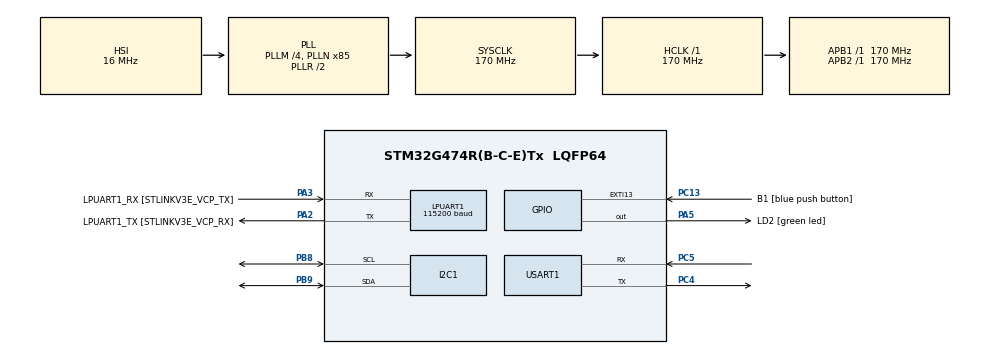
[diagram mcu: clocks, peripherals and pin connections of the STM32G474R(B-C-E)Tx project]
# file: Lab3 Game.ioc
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Dma.I2C1_RX.4.Direction=DMA_PERIPH_TO_MEMORY
Dma.I2C1_RX.4.EventEnable=DISABLE
Dma.I2C1_RX.4.Instance=DMA1_Channel5
Dma.I2C1_RX.4.MemDataAlignment=DMA_MDATAALIGN_BYTE
Dma.I2C1_RX.4.MemInc=DMA_MINC_ENABLE
Dma.I2C1_RX.4.Mode=DMA_NORMAL
Dma.I2C1_RX.4.PeriphDataAlignment=DMA_PDATAALIGN_BYTE
Dma.I2C1_RX.4.PeriphInc=DMA_PINC_DISABLE
Dma.I2C1_RX.4.Polarity=HAL_DMAMUX_REQ_GEN_RISING
Dma.I2C1_RX.4.Priority=DMA_PRIORITY_LOW
Dma.I2C1_RX.4.RequestNumber=1
Dma.I2C1_RX.4.SignalID=NONE
Dma.I2C1_RX.4.SyncEnable=DISABLE
Dma.I2C1_RX.4.SyncPolarity=HAL_DMAMUX_SYNC_NO_EVENT
Dma.I2C1_RX.4.SyncRequestNumber=1
Dma.I2C1_RX.4.SyncSignalID=NONE
Dma.I2C1_TX.5.Direction=DMA_MEMORY_TO_PERIPH
Dma.I2C1_TX.5.EventEnable=DISABLE
Dma.I2C1_TX.5.Instance=DMA1_Channel6
Dma.I2C1_TX.5.MemDataAlignment=DMA_MDATAALIGN_BYTE
Dma.I2C1_TX.5.MemInc=DMA_MINC_ENABLE
Dma.I2C1_TX.5.Mode=DMA_NORMAL
Dma.I2C1_TX.5.PeriphDataAlignment=DMA_PDATAALIGN_BYTE
Dma.I2C1_TX.5.PeriphInc=DMA_PINC_DISABLE
Dma.I2C1_TX.5.Polarity=HAL_DMAMUX_REQ_GEN_RISING
Dma.I2C1_TX.5.Priority=DMA_PRIORITY_LOW
Dma.I2C1_TX.5.RequestNumber=1
Dma.I2C1_TX.5.SignalID=NONE
Dma.I2C1_TX.5.SyncEnable=DISABLE
Dma.I2C1_TX.5.SyncPolarity=HAL_DMAMUX_SYNC_NO_EVENT
Dma.I2C1_TX.5.SyncRequestNumber=1
Dma.I2C1_TX.5.SyncSignalID=NONE
Dma.LPUART1_RX.1.Direction=DMA_PERIPH_TO_MEMORY
Dma.LPUART1_RX.1.EventEnable=DISABLE
Dma.LPUART1_RX.1.Instance=DMA1_Channel2
Dma.LPUART1_RX.1.MemDataAlignment=DMA_MDATAALIGN_BYTE
Dma.LPUART1_RX.1.MemInc=DMA_MINC_ENABLE
Dma.LPUART1_RX.1.Mode=DMA_CIRCULAR
Dma.LPUART1_RX.1.PeriphDataAlignment=DMA_PDATAALIGN_BYTE
Dma.LPUART1_RX.1.PeriphInc=DMA_PINC_DISABLE
Dma.LPUART1_RX.1.Polarity=HAL_DMAMUX_REQ_GEN_RISING
Dma.LPUART1_RX.1.Priority=DMA_PRIORITY_LOW
Dma.LPUART1_RX.1.RequestNumber=1
Dma.LPUART1_RX.1.SignalID=NONE
Dma.LPUART1_RX.1.SyncEnable=DISABLE
Dma.LPUART1_RX.1.SyncPolarity=HAL_DMAMUX_SYNC_NO_EVENT
Dma.LPUART1_RX.1.SyncRequestNumber=1
Dma.LPUART1_RX.1.SyncSignalID=NONE
Dma.LPUART1_TX.0.Direction=DMA_MEMORY_TO_PERIPH
Dma.LPUART1_TX.0.EventEnable=DISABLE
Dma.LPUART1_TX.0.Instance=DMA1_Channel1
Dma.LPUART1_TX.0.MemDataAlignment=DMA_MDATAALIGN_BYTE
Dma.LPUART1_TX.0.MemInc=DMA_MINC_ENABLE
Dma.LPUART1_TX.0.Mode=DMA_NORMAL
Dma.LPUART1_TX.0.PeriphDataAlignment=DMA_PDATAALIGN_BYTE
Dma.LPUART1_TX.0.PeriphInc=DMA_PINC_DISABLE
Dma.LPUART1_TX.0.Polarity=HAL_DMAMUX_REQ_GEN_RISING
Dma.LPUART1_TX.0.Priority=DMA_PRIORITY_LOW
Dma.LPUART1_TX.0.RequestNumber=1
Dma.LPUART1_TX.0.SignalID=NONE
Dma.LPUART1_TX.0.SyncEnable=DISABLE
Dma.LPUART1_TX.0.SyncPolarity=HAL_DMAMUX_SYNC_NO_EVENT
Dma.LPUART1_TX.0.SyncRequestNumber=1
Dma.LPUART1_TX.0.SyncSignalID=NONE
Dma.Request0=LPUART1_TX
Dma.Request1=LPUART1_RX
Dma.Request2=USART1_RX
Dma.Request3=USART1_TX
Dma.Request4=I2C1_RX
Dma.Request5=I2C1_TX
Dma.USART1_RX.2.Direction=DMA_PERIPH_TO_MEMORY
Dma.USART1_RX.2.EventEnable=DISABLE
Dma.USART1_RX.2.Instance=DMA1_Channel3
Dma.USART1_RX.2.MemDataAlignment=DMA_MDATAALIGN_BYTE
Dma.USART1_RX.2.MemInc=DMA_MINC_ENABLE
Dma.USART1_RX.2.Mode=DMA_CIRCULAR
Dma.USART1_RX.2.PeriphDataAlignment=DMA_PDATAALIGN_BYTE
Dma.USART1_RX.2.PeriphInc=DMA_PINC_DISABLE
Dma.USART1_RX.2.Polarity=HAL_DMAMUX_REQ_GEN_RISING
Dma.USART1_RX.2.Priority=DMA_PRIORITY_LOW
Dma.USART1_RX.2.RequestNumber=1
Dma.USART1_RX.2.SignalID=NONE
Dma.USART1_RX.2.SyncEnable=DISABLE
Dma.USART1_RX.2.SyncPolarity=HAL_DMAMUX_SYNC_NO_EVENT
Dma.USART1_RX.2.SyncRequestNumber=1
Dma.USART1_RX.2.SyncSignalID=NONE
Dma.USART1_TX.3.Direction=DMA_MEMORY_TO_PERIPH
Dma.USART1_TX.3.EventEnable=DISABLE
Dma.USART1_TX.3.Instance=DMA1_Channel4
Dma.USART1_TX.3.MemDataAlignment=DMA_MDATAALIGN_BYTE
Dma.USART1_TX.3.MemInc=DMA_MINC_ENABLE
Dma.USART1_TX.3.Mode=DMA_NORMAL
Dma.USART1_TX.3.PeriphDataAlignment=DMA_PDATAALIGN_BYTE
Dma.USART1_TX.3.PeriphInc=DMA_PINC_DISABLE
Dma.USART1_TX.3.Polarity=HAL_DMAMUX_REQ_GEN_RISING
Dma.USART1_TX.3.Priority=DMA_PRIORITY_LOW
Dma.USART1_TX.3.RequestNumber=1
Dma.USART1_TX.3.SignalID=NONE
Dma.USART1_TX.3.SyncEnable=DISABLE
Dma.USART1_TX.3.SyncPolarity=HAL_DMAMUX_SYNC_NO_EVENT
Dma.USART1_TX.3.SyncRequestNumber=1
Dma.USART1_TX.3.SyncSignalID=NONE
I2C1.Timing=0x30A0A7FB
LPUART1.BaudRate=115200
LPUART1.Parity=UART_PARITY_EVEN
LPUART1.WordLength=UART_WORDLENGTH_9B
Mcu.Family=STM32G4
Mcu.Name=STM32G474R(B-C-E)Tx
Mcu.Package=LQFP64
NVIC.DMA1_Channel1_IRQn=true\:0\:0\:false\:false\:true\:false\:true\:true
NVIC.DMA1_Channel2_IRQn=true\:0\:0\:false\:false\:true\:false\:true\:true
NVIC.DMA1_Channel3_IRQn=true\:0\:0\:false\:false\:true\:false\:true\:true
NVIC.DMA1_Channel4_IRQn=true\:0\:0\:false\:false\:true\:false\:true\:true
NVIC.DMA1_Channel5_IRQn=true\:0\:0\:false\:false\:true\:false\:true\:true
NVIC.DMA1_Channel6_IRQn=true\:0\:0\:false\:false\:true\:false\:true\:true
NVIC.EXTI15_10_IRQn=true\:0\:0\:false\:false\:true\:true\:true\:true
NVIC.I2C1_ER_IRQn=true\:0\:0\:false\:false\:true\:true\:true\:true
NVIC.I2C1_EV_IRQn=true\:0\:0\:false\:false\:true\:true\:true\:true
NVIC.LPUART1_IRQn=true\:0\:0\:false\:false\:true\:true\:true\:true
NVIC.PriorityGroup=NVIC_PRIORITYGROUP_4
NVIC.USART1_IRQn=true\:0\:0\:false\:false\:true\:true\:true\:true
PA13.GPIO_Label=T_SWDIO
PA13.Signal=SYS_JTMS-SWDIO
PA2.GPIO_Label=LPUART1_TX [STLINKV3E_VCP_RX]
PA2.Mode=Asynchronous
PA2.Signal=LPUART1_TX
PA3.GPIO_Label=LPUART1_RX [STLINKV3E_VCP_TX]
PA3.Mode=Asynchronous
PA3.Signal=LPUART1_RX
PA5.GPIO_Label=LD2 [green led]
PA5.Signal=GPIO_Output
PB3.GPIO_Label=T_SWO
PB3.Signal=SYS_JTDO-SWO
PB8-BOOT0.Mode=I2C
PB8-BOOT0.Signal=I2C1_SCL
PB9.Mode=I2C
PB9.Signal=I2C1_SDA
PC13.GPIO_Label=B1 [blue push button]
PC13.Signal=GPXTI13
PC14-OSC32_IN.Mode=LSE-External-Oscillator
PC14-OSC32_IN.Signal=RCC_OSC32_IN
PC15-OSC32_OUT.Mode=LSE-External-Oscillator
PC15-OSC32_OUT.Signal=RCC_OSC32_OUT
PC4.Mode=Asynchronous
PC4.Signal=USART1_TX
PC5.Mode=Asynchronous
PC5.Signal=USART1_RX
PF0-OSC_IN.Mode=HSE-External-Oscillator
PF0-OSC_IN.Signal=RCC_OSC_IN
PF1-OSC_OUT.Mode=HSE-External-Oscillator
PF1-OSC_OUT.Signal=RCC_OSC_OUT
ProjectManager.HeapSize=0x200
ProjectManager.StackSize=0x400
ProjectManager.TargetToolchain=STM32CubeIDE
RCC.ADC12Freq_Value=170000000
RCC.ADC345Freq_Value=170000000
RCC.AHBFreq_Value=170000000
RCC.APB1Freq_Value=170000000
RCC.APB1TimFreq_Value=170000000
RCC.APB2Freq_Value=170000000
RCC.APB2TimFreq_Value=170000000
RCC.CortexFreq_Value=170000000
RCC.EXTERNAL_CLOCK_VALUE=12288000
RCC.HCLKFreq_Value=170000000
RCC.HSE_VALUE=24000000
RCC.HSI48_VALUE=48000000
RCC.HSI_VALUE=16000000
RCC.PLLM=RCC_PLLM_DIV4
RCC.PLLN=85
RCC.RTCClockSelection=RCC_RTCCLKSOURCE_LSE
RCC.SYSCLKFreq_VALUE=170000000
RCC.SYSCLKSource=RCC_SYSCLKSOURCE_PLLCLK
RCC.USBFreq_Value=170000000
RCC.VCOOutputFreq_Value=340000000
USART1.Parity=PARITY_EVEN
USART1.VirtualMode-Asynchronous=VM_ASYNC
USART1.WordLength=WORDLENGTH_9B
VP_SYS_VS_DBSignals.Mode=DisableDeadBatterySignals
board=NUCLEO-G474RE

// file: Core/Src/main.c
/* USER CODE BEGIN Header */
/**
  ******************************************************************************
  * @file           : main.c
  * @brief          : Main program body
  ******************************************************************************
  * @attention
  *
  * Copyright (c) 2024 STMicroelectronics.
  * All rights reserved.
  *
  * This software is licensed under terms that can be found in the LICENSE file
  * in the root directory of this software component.
  * If no LICENSE file comes with this software, it is provided AS-IS.
  *
  ******************************************************************************
  */
/* USER CODE END Header */
#include "main.h"

/* USER CODE BEGIN Includes */
#include "stdio.h"
#include "string.h"
#include "stdlib.h"

/* USER CODE END Includes */

/* USER CODE BEGIN PD */
#define EEPROM_ADDR 0b10100000
/* USER CODE END PD */

I2C_HandleTypeDef hi2c1;
DMA_HandleTypeDef hdma_i2c1_rx;
DMA_HandleTypeDef hdma_i2c1_tx;

UART_HandleTypeDef hlpuart1;
UART_HandleTypeDef huart1;
DMA_HandleTypeDef hdma_lpuart1_tx;
DMA_HandleTypeDef hdma_lpuart1_rx;
DMA_HandleTypeDef hdma_usart1_rx;
DMA_HandleTypeDef hdma_usart1_tx;

/* USER CODE BEGIN PV */

// For Send Questions to PuTTy "
uint8_t Hx[30] = "Quiz The Question !\n\r";
uint8_t Tx1[100] = "1). 1 + 1 = 2 ? (y/n)\n\r";
uint8_t Tx2[100] = "2). Microcon is EZ ! (y/n)\n\r";
uint8_t Tx3[100] = "3). Boss is handsome.(y/n)\n\r";
uint8_t Ax1[40] = "Your answer is ?:\n\r";
uint8_t GetAns[2];
uint8_t res1[30] = "You answered Yes.\r\n";
uint8_t res2[30] = "You answered No.\r\n";
uint8_t ToT[30] = "-*Scoreboard*-\n\r";
uint8_t ToT2[50] = "Top  Score : Boss : 100 points\n\r";
uint8_t S[50] = "Your Score : You  : 0 points\n\r";
uint8_t S1[50] = "Your Score : You  : 1 points\n\r";
uint8_t S2[50] = "Your Score : You  : 2 points\n\r";
uint8_t S3[50] = "Your Score : You  : 3 points\n\r";
uint8_t s1 = 0;
uint8_t s2 = 0;
uint8_t s3 = 0;
int mode = 0;

uint8_t TotalScore = 0;//Send to I2C

// I2C Part //
uint8_t WriteFlag = 0;
uint8_t ReadFlag = 0;
int ReadBack[1] = {5};

// Test Number //
int A = 8;
int B = 5;
int C = 0;
int D[4] = {0,1,2,3};
int State;
/* USER CODE END PV */

void SystemClock_Config(void);
static void MX_GPIO_Init(void);
static void MX_DMA_Init(void);
static void MX_LPUART1_UART_Init(void);
static void MX_I2C1_Init(void);
static void MX_USART1_UART_Init(void);
/* USER CODE BEGIN PFP */

// STM32 Part //
void Dummy();

// I2C Part //
void EEPROMWriteExample();
void EEPROMReadExample(uint8_t *Rdata, uint16_t len);
/* USER CODE END PFP */

int main(void)
{

  /* MCU Configuration--------------------------------------------------------*/

  /* Reset of all peripherals, Initializes the Flash interface and the Systick. */
  HAL_Init();

  /* Configure the system clock */
  SystemClock_Config();

  /* Initialize all configured peripherals */
  MX_GPIO_Init();
  MX_DMA_Init();
  MX_LPUART1_UART_Init();
  MX_I2C1_Init();
  MX_USART1_UART_Init();
  /* USER CODE BEGIN 2 */
  HAL_Delay(100);
  /* USER CODE END 2 */

  /* Infinite loop */
  while (1)
  {

    /* USER CODE BEGIN 3 */
	  // STM32 Part //
	  Dummy();
	  HAL_UART_Receive_DMA(&hlpuart1, GetAns, 2);
	if(A==8){
	  HAL_UART_Transmit(&hlpuart1,Hx, strlen(Hx), 4);
	  HAL_UART_Transmit(&hlpuart1,"-------------------------\n\r",strlen("-------------------------\n\r"), 8);
	  A=1;
	}
// Question 1 //
		if(A == 1){
			HAL_Delay(1000);

			HAL_UART_Transmit(&hlpuart1,Tx1, 100,10);
			HAL_UART_Transmit(&hlpuart1,Ax1, 40,10);
			A = 0;
			mode = 1;
		}
		if(mode == 1){
			if(GetAns[0] == 'y' && GetAns[1] == '\r' && mode == 1){
				HAL_UART_Transmit(&hlpuart1, res1, 30, 10);
				HAL_UART_Transmit(&hlpuart1,"*********\n\r",strlen("**********\n\r"), 8);
				s1 =+ 1;
				A = 2;
				GetAns[0]=0;
				GetAns[1]=0;
			}
			else if(GetAns[0] == 'n' && GetAns[1] == '\r' && mode == 1){
				HAL_UART_Transmit(&hlpuart1, res2, 30, 10);
				HAL_UART_Transmit(&hlpuart1,"*********\n\r",strlen("**********\n\r"), 8);
				A = 2;
				GetAns[0]=0;
				GetAns[1]=0;
			}
//			else if(GetAns[0] != 0 && GetAns[1] != 0){
//				char response[] = "Invalid Answer, Try Again.\r\n";
//				HAL_UART_Transmit(&huart1,response, strlen(response), 10);
//				A = 1;
//				mode = 0;
//				GetAns[0]=0;
//				GetAns[1]=0;
//			}
		}
// Question 2 //
		if(A == 2){
			HAL_Delay(500);
			HAL_UART_Transmit(&hlpuart1,Tx2, 100,10);
			HAL_UART_Transmit(&hlpuart1,Ax1, 40,10);
			A = 0;
			mode = 2;
		}
		if(mode == 2){
			if(GetAns[0] == 'y' && GetAns[1] == '\r' && mode == 2){
				HAL_UART_Transmit(&hlpuart1, res1, 30, 10);
				HAL_UART_Transmit(&hlpuart1,"*********\n\r",strlen("**********\n\r"), 8);
				A = 3;
				GetAns[0]=0;
				GetAns[1]=0;
			}
			else if(GetAns[0] == 'n' && GetAns[1] == '\r' && mode == 2){
				HAL_UART_Transmit(&hlpuart1, res2, 30, 10);
				HAL_UART_Transmit(&hlpuart1,"*********\n\r",strlen("**********\n\r"), 8);
				s2 =+ 1;
				A = 3;
				GetAns[0]=0;
				GetAns[1]=0;
			}
		}
// Question 3 //
		if(A == 3){
			HAL_Delay(500);
			HAL_UART_Transmit(&hlpuart1,Tx3, 100,10);
			HAL_UART_Transmit(&hlpuart1,Ax1, 40,10);
			A = 0;
			mode = 3;
		}
		if(mode == 3){
			if(GetAns[0] == 'y' && GetAns[1] == '\r' && mode == 3){
				HAL_UART_Transmit(&hlpuart1, res1, 30, 10);
				HAL_UART_Transmit(&hlpuart1,"*********\n\r",strlen("**********\n\r"), 8);
				s3 =+ 1;
				A = 4;
				GetAns[0]=0;
				GetAns[1]=0;
			}
			else if(GetAns[0] == 'n' && GetAns[1] == '\r' && mode == 3){
				HAL_UART_Transmit(&hlpuart1, res2, 30, 10);
				HAL_UART_Transmit(&hlpuart1,"*********\n\r",strlen("**********\n\r"), 8);
				A = 4;
				GetAns[0]=0;
				GetAns[1]=0;
			}
		}
//ScoreBoard //
		if(A == 4){
			HAL_Delay(500);
			HAL_UART_Transmit(&hlpuart1, ToT, 30, 10);
			HAL_UART_Transmit(&hlpuart1, ToT2, 50, 10);
			TotalScore = s1+s2+s3;
			A=5;
		}
// I2C part //
		if(A == 5){
			HAL_Delay(1000);
			WriteFlag = 1;
			C = 1;
			A=7;
		}
		if(A == 7){
			HAL_Delay(1000);
			ReadFlag = 1;
			HAL_Delay(1000);
			State = 1;
			A = 9 ;
		}

//			if(State == 1 && A == 9){
////				strcpy(D,ReadBack);//push readback in D array
////				D[0] = strtol(ReadBack[0], NULL, 16);
////				D[0] = ReadBack[0];
////				HAL_Delay(1000);
//				A = 10;
////				HAL_Delay(1000);
//			}

//				if (ReadBack[0] == D[0] ){
//					B = 4;
//					HAL_UART_Transmit(&hlpuart1, S, 50, 10);
//					State = 0;
//				}

//				if(ReadBack[0] == 0 && A == 9){
//					B = 4;
//					HAL_UART_Transmit(&hlpuart1, S, 50, 10);
//					State = 0;
//					A = 10;
//				}
				if(ReadBack[0] == 1 && A == 9){
					B = 1;
					HAL_UART_Transmit(&hlpuart1, S1, 50, 10);
					State = 0;
					A = 10;
				}
				if(ReadBack[0] == 2 && A == 9){
					B = 2;
					HAL_UART_Transmit(&hlpuart1, S2, 50, 10);
					State = 0;
					A = 10;
				}
				if(ReadBack[0] == 3 && A == 9){
					B = 3;
					HAL_UART_Transmit(&hlpuart1, S3, 50, 10);
					State = 0;
					A = 10;
				}
				if(ReadBack[0] == 0 && A == 9){
					B = 4;
					HAL_UART_Transmit(&hlpuart1, S, 50, 10);
					State = 0;
					A = 10;
				}

				if(State == 0 && B != 0 && A == 10){
					HAL_UART_Transmit(&hlpuart1,"YOU ARE NOOB,LOSER UwU.\n\r", 50, 10);
					State = 9;
				}if(State == 9){A=11; break; }

  EEPROMWriteExample();
  EEPROMReadExample(ReadBack, 1);
  }
  /* USER CODE END 3 */
}

void SystemClock_Config(void)
{
  RCC_OscInitTypeDef RCC_OscInitStruct = {0};
  RCC_ClkInitTypeDef RCC_ClkInitStruct = {0};

  /** Configure the main internal regulator output voltage
  */
  HAL_PWREx_ControlVoltageScaling(PWR_REGULATOR_VOLTAGE_SCALE1_BOOST);

  /** Initializes the RCC Oscillators according to the specified parameters
  * in the RCC_OscInitTypeDef structure.
  */
  RCC_OscInitStruct.OscillatorType = RCC_OSCILLATORTYPE_HSI;
  RCC_OscInitStruct.HSIState = RCC_HSI_ON;
  RCC_OscInitStruct.HSICalibrationValue = RCC_HSICALIBRATION_DEFAULT;
  RCC_OscInitStruct.PLL.PLLState = RCC_PLL_ON;
  RCC_OscInitStruct.PLL.PLLSource = RCC_PLLSOURCE_HSI;
  RCC_OscInitStruct.PLL.PLLM = RCC_PLLM_DIV4;
  RCC_OscInitStruct.PLL.PLLN = 85;
  RCC_OscInitStruct.PLL.PLLP = RCC_PLLP_DIV2;
  RCC_OscInitStruct.PLL.PLLQ = RCC_PLLQ_DIV2;
  RCC_OscInitStruct.PLL.PLLR = RCC_PLLR_DIV2;
  if (HAL_RCC_OscConfig(&RCC_OscInitStruct) != HAL_OK)
  {
    Error_Handler();
  }

  /** Initializes the CPU, AHB and APB buses clocks
  */
  RCC_ClkInitStruct.ClockType = RCC_CLOCKTYPE_HCLK|RCC_CLOCKTYPE_SYSCLK
                              |RCC_CLOCKTYPE_PCLK1|RCC_CLOCKTYPE_PCLK2;
  RCC_ClkInitStruct.SYSCLKSource = RCC_SYSCLKSOURCE_PLLCLK;
  RCC_ClkInitStruct.AHBCLKDivider = RCC_SYSCLK_DIV1;
  RCC_ClkInitStruct.APB1CLKDivider = RCC_HCLK_DIV1;
  RCC_ClkInitStruct.APB2CLKDivider = RCC_HCLK_DIV1;

  if (HAL_RCC_ClockConfig(&RCC_ClkInitStruct, FLASH_LATENCY_4) != HAL_OK)
  {
    Error_Handler();
  }
}

static void MX_I2C1_Init(void)
{

  hi2c1.Instance = I2C1;
  hi2c1.Init.Timing = 0x30A0A7FB;
  hi2c1.Init.OwnAddress1 = 0;
  hi2c1.Init.AddressingMode = I2C_ADDRESSINGMODE_7BIT;
  hi2c1.Init.DualAddressMode = I2C_DUALADDRESS_DISABLE;
  hi2c1.Init.OwnAddress2 = 0;
  hi2c1.Init.OwnAddress2Masks = I2C_OA2_NOMASK;
  hi2c1.Init.GeneralCallMode = I2C_GENERALCALL_DISABLE;
  hi2c1.Init.NoStretchMode = I2C_NOSTRETCH_DISABLE;
  if (HAL_I2C_Init(&hi2c1) != HAL_OK)
  {
    Error_Handler();
  }

  /** Configure Analogue filter
  */
  if (HAL_I2CEx_ConfigAnalogFilter(&hi2c1, I2C_ANALOGFILTER_ENABLE) != HAL_OK)
  {
    Error_Handler();
  }

  /** Configure Digital filter
  */
  if (HAL_I2CEx_ConfigDigitalFilter(&hi2c1, 0) != HAL_OK)
  {
    Error_Handler();
  }

}

static void MX_LPUART1_UART_Init(void)
{

  hlpuart1.Instance = LPUART1;
  hlpuart1.Init.BaudRate = 115200;
  hlpuart1.Init.WordLength = UART_WORDLENGTH_9B;
  hlpuart1.Init.StopBits = UART_STOPBITS_1;
  hlpuart1.Init.Parity = UART_PARITY_EVEN;
  hlpuart1.Init.Mode = UART_MODE_TX_RX;
  hlpuart1.Init.HwFlowCtl = UART_HWCONTROL_NONE;
  hlpuart1.Init.OneBitSampling = UART_ONE_BIT_SAMPLE_DISABLE;
  hlpuart1.Init.ClockPrescaler = UART_PRESCALER_DIV1;
  hlpuart1.AdvancedInit.AdvFeatureInit = UART_ADVFEATURE_NO_INIT;
  if (HAL_UART_Init(&hlpuart1) != HAL_OK)
  {
    Error_Handler();
  }
  if (HAL_UARTEx_SetTxFifoThreshold(&hlpuart1, UART_TXFIFO_THRESHOLD_1_8) != HAL_OK)
  {
    Error_Handler();
  }
  if (HAL_UARTEx_SetRxFifoThreshold(&hlpuart1, UART_RXFIFO_THRESHOLD_1_8) != HAL_OK)
  {
    Error_Handler();
  }
  if (HAL_UARTEx_DisableFifoMode(&hlpuart1) != HAL_OK)
  {
    Error_Handler();
  }

}

static void MX_USART1_UART_Init(void)
{

  huart1.Instance = USART1;
  huart1.Init.BaudRate = 115200;
  huart1.Init.WordLength = UART_WORDLENGTH_9B;
  huart1.Init.StopBits = UART_STOPBITS_1;
  huart1.Init.Parity = UART_PARITY_EVEN;
  huart1.Init.Mode = UART_MODE_TX_RX;
  huart1.Init.HwFlowCtl = UART_HWCONTROL_NONE;
  huart1.Init.OverSampling = UART_OVERSAMPLING_16;
  huart1.Init.OneBitSampling = UART_ONE_BIT_SAMPLE_DISABLE;
  huart1.Init.ClockPrescaler = UART_PRESCALER_DIV1;
  huart1.AdvancedInit.AdvFeatureInit = UART_ADVFEATURE_NO_INIT;
  if (HAL_UART_Init(&huart1) != HAL_OK)
  {
    Error_Handler();
  }
  if (HAL_UARTEx_SetTxFifoThreshold(&huart1, UART_TXFIFO_THRESHOLD_1_8) != HAL_OK)
  {
    Error_Handler();
  }
  if (HAL_UARTEx_SetRxFifoThreshold(&huart1, UART_RXFIFO_THRESHOLD_1_8) != HAL_OK)
  {
    Error_Handler();
  }
  if (HAL_UARTEx_DisableFifoMode(&huart1) != HAL_OK)
  {
    Error_Handler();
  }

}

static void MX_DMA_Init(void)
{

  /* DMA controller clock enable */
  __HAL_RCC_DMAMUX1_CLK_ENABLE();
  __HAL_RCC_DMA1_CLK_ENABLE();

  /* DMA interrupt init */
  /* DMA1_Channel1_IRQn interrupt configuration */
  HAL_NVIC_SetPriority(DMA1_Channel1_IRQn, 0, 0);
  HAL_NVIC_EnableIRQ(DMA1_Channel1_IRQn);
  /* DMA1_Channel2_IRQn interrupt configuration */
  HAL_NVIC_SetPriority(DMA1_Channel2_IRQn, 0, 0);
  HAL_NVIC_EnableIRQ(DMA1_Channel2_IRQn);
  /* DMA1_Channel3_IRQn interrupt configuration */
  HAL_NVIC_SetPriority(DMA1_Channel3_IRQn, 0, 0);
  HAL_NVIC_EnableIRQ(DMA1_Channel3_IRQn);
  /* DMA1_Channel4_IRQn interrupt configuration */
  HAL_NVIC_SetPriority(DMA1_Channel4_IRQn, 0, 0);
  HAL_NVIC_EnableIRQ(DMA1_Channel4_IRQn);
  /* DMA1_Channel5_IRQn interrupt configuration */
  HAL_NVIC_SetPriority(DMA1_Channel5_IRQn, 0, 0);
  HAL_NVIC_EnableIRQ(DMA1_Channel5_IRQn);
  /* DMA1_Channel6_IRQn interrupt configuration */
  HAL_NVIC_SetPriority(DMA1_Channel6_IRQn, 0, 0);
  HAL_NVIC_EnableIRQ(DMA1_Channel6_IRQn);

}

static void MX_GPIO_Init(void)
{
  GPIO_InitTypeDef GPIO_InitStruct = {0};

  /* GPIO Ports Clock Enable */
  __HAL_RCC_GPIOC_CLK_ENABLE();
  __HAL_RCC_GPIOF_CLK_ENABLE();
  __HAL_RCC_GPIOA_CLK_ENABLE();
  __HAL_RCC_GPIOB_CLK_ENABLE();

  /*Configure GPIO pin Output Level */
  HAL_GPIO_WritePin(LD2_GPIO_Port, LD2_Pin, GPIO_PIN_RESET);

  /*Configure GPIO pin : B1_Pin */
  GPIO_InitStruct.Pin = B1_Pin;
  GPIO_InitStruct.Mode = GPIO_MODE_IT_RISING;
  GPIO_InitStruct.Pull = GPIO_NOPULL;
  HAL_GPIO_Init(B1_GPIO_Port, &GPIO_InitStruct);

  /*Configure GPIO pin : LD2_Pin */
  GPIO_InitStruct.Pin = LD2_Pin;
  GPIO_InitStruct.Mode = GPIO_MODE_OUTPUT_PP;
  GPIO_InitStruct.Pull = GPIO_NOPULL;
  GPIO_InitStruct.Speed = GPIO_SPEED_FREQ_LOW;
  HAL_GPIO_Init(LD2_GPIO_Port, &GPIO_InitStruct);

  /* EXTI interrupt init*/
  HAL_NVIC_SetPriority(EXTI15_10_IRQn, 0, 0);
  HAL_NVIC_EnableIRQ(EXTI15_10_IRQn);

}

/* USER CODE BEGIN 4 */

// I2C PART //
void EEPROMWriteExample() {
	if (WriteFlag && hi2c1.State == HAL_I2C_STATE_READY) {
	static uint8_t data[4];
	 data[0]=TotalScore;
	 data[1]=0x00;
	 data[2]=0x00;
	 data[3]=0x00;
		HAL_I2C_Mem_Write_IT(&hi2c1, EEPROM_ADDR, 0x2C, I2C_MEMADD_SIZE_16BIT,data, 1);
		WriteFlag = 0;
	if(A==11){
		 data[0]=0x00;
		 data[1]=0x00;
		 data[2]=0x00;
		 data[3]=0x00;
	}
	}
}
void EEPROMReadExample(uint8_t *Rdata, uint16_t len) {
	if (ReadFlag ==1 && hi2c1.State == HAL_I2C_STATE_READY) {
		HAL_I2C_Mem_Read_IT(&hi2c1, EEPROM_ADDR, 0x2c, I2C_MEMADD_SIZE_16BIT,Rdata, len);
//		ReadFlag = 0;
	}
}

// For LD2 Test //
void Dummy(){
	static uint32_t timestamp=0;
	if(HAL_GetTick()>=timestamp){
		timestamp = HAL_GetTick()+100;
		HAL_GPIO_TogglePin(LD2_GPIO_Port, LD2_Pin);
	}
}
/* USER CODE END 4 */

void Error_Handler(void)
{
  __disable_irq();
  while (1)
  {
  }
}
